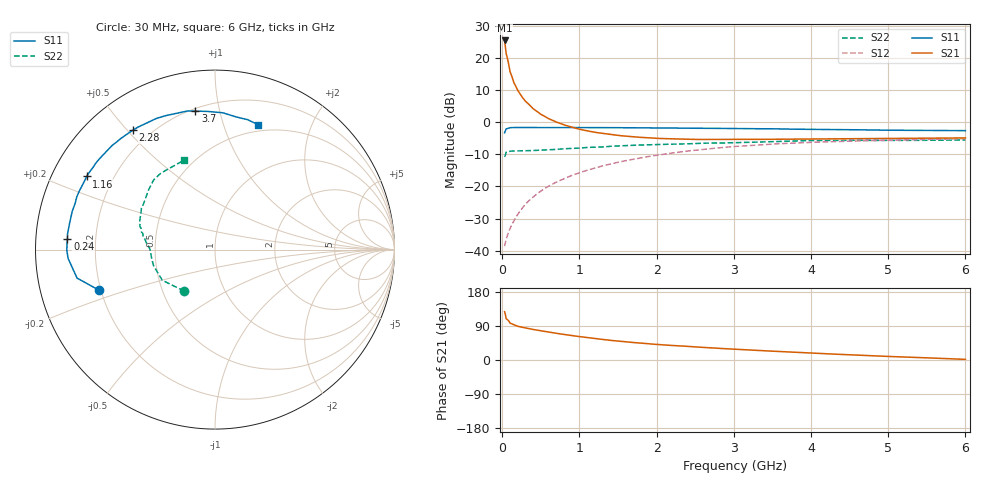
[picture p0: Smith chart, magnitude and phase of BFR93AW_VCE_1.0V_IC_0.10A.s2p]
! Infineon Technologies  Discrete & RF Semiconductors
! BFR93AW
! VCE =  1.0 V,  IC = 0.10 A
! Common Emitter S-Parameters:  Nov 2015
# GHz  S  MA  R  50
!  f  S11  S21  S12  S22
! GHz  MAG  ANG  MAG  ANG  MAG  ANG  MAG  ANG
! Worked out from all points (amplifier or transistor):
!   206 points, 30 MHz to 6 GHz, reference 50 ohm
!   highest |S21| = 25.4 dB at 30 MHz (marker M1)
!   |S21| within 3 dB of that: start of sweep to 45.13 MHz
!   unconditionally stable (mu >= 1): start of sweep to end of sweep
!   at 200 MHz: K = 1.54, MAG = 15.0 dB, |S12| = -28.7 dB
!   at 1.56 GHz: K = 1.31, MAG = 0.6 dB, |S12| = -12.2 dB
!   at 6 GHz: K = 1.07, MAG = -1.5 dB, |S12| = -5.1 dB
!   S11 on the Smith chart (normalised r, x): 30 MHz: 0.19, -0.16; 240 MHz: 0.10, +0.04; 1.16 GHz: 0.10, +0.26; 2.28 GHz: 0.14, +0.52; 3.7 GHz: 0.22, +0.84; 6 GHz: 0.43, +1.31
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0.03  0.6833 -160.6  18.58 127.5  0.0118 49.6  0.2882 -126.7
0.05  0.7847 -168.3  11.61 109.0  0.0151 49.2  0.3398 -149.8
0.1  0.8197 -176.5  6.096 97.2  0.0222 58.9  0.3538 -165.3
0.15  0.8258 -179.7  4.108 92.6  0.0291 64.7  0.3559 -170.8
0.2  0.825 177.5  3.118 89.0  0.0368 68.6  0.3569 -174.0
0.24  0.8245 175.8  2.629 87.2  0.043 70.5  0.3581 -175.6
0.26  0.8248 175.1  2.427 86.3  0.0462 71.1  0.3585 -176.3
0.3  0.8262 173.9  2.109 84.4  0.053 71.7  0.3591 -177.4
0.4  0.8238 170.5  1.613 80.5  0.0686 72.6  0.3617 -179.9
0.5  0.8223 167.5  1.321 77.0  0.0848 72.9  0.3674 178.2
0.6  0.8236 165.0  1.133 73.8  0.1009 72.3  0.3717 176.8
0.7  0.8206 161.9  1.003 70.3  0.1166 71.4  0.3766 175.4
1.04  0.8214 153.1  0.757 60.7  0.1696 67.5  0.3984 171.1
1.16  0.8227 150.3  0.709 57.7  0.1874 66.0  0.4063 169.9
1.54  0.8182 141.2  0.614 49.1  0.2434 60.5  0.4274 164.8
2.02  0.8113 130.1  0.558 40.8  0.3069 53.4  0.4488 159.0
2.28  0.807 124.6  0.547 37.4  0.3406 49.5  0.4564 155.1
3.1  0.792 108.3  0.538 27.5  0.4246 37.4  0.4816 143.6
3.7  0.7791 98.1  0.542 21.3  0.4678 29.1  0.5045 135.3
4.1  0.7689 92.0  0.545 17.3  0.4899 23.9  0.5181 130.0
5.1  0.7477 80.0  0.556 8.7  0.5255 13.4  0.5195 118.7
6  0.7366 71.1  0.568 1.7  0.5538 5.6  0.527 109.1
